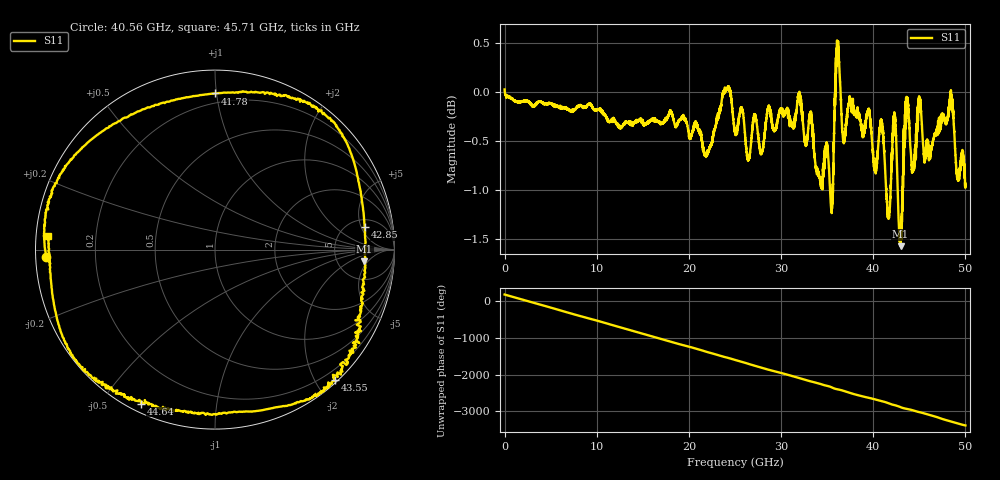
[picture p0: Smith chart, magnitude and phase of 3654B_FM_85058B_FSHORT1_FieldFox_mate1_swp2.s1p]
!Created with skrf (http://scikit-rf.org).
# Hz S RI R 50.0
!freq ReS11 ImS11
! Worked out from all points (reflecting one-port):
!   10000 points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, 5.3 MHz to 50 GHz, reference 50 ohm
!   lowest |S11| = -1.6 dB at 42.97 GHz (marker M1), VSWR 11.08, Z = 467 - j201 ohm
!   phase of S11 starts at 180 deg and turns -3561 deg over the sweep
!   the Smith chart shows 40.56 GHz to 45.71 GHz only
!   S11 on the Smith chart (normalised r, x): 40.56 GHz: 0.03, -0.02; 41.78 GHz: 0.14, +0.99; 42.85 GHz: 6.67, +5.83; 43.55 GHz: 0.04, -2.27; 44.64 GHz: 0.03, -0.63; 45.71 GHz: 0.03, +0.04
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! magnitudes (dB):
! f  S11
! 5.3 MHz  0.0
! 6.255 GHz  -0.2
! 12.51 GHz  -0.4
! 18.76 GHz  -0.3
! 21.92 GHz  -0.6
! 24.21 GHz  0.0
! 25.01 GHz  -0.4
! 31.26 GHz  -0.3
! 32.01 GHz  0.0
! 35.44 GHz  -1.2
! 36.12 GHz  0.5
! 36.79 GHz  -0.5
! 37.51 GHz  -0.1
! 40.56 GHz  -0.5
! 40.95 GHz  -0.3
! 41.78 GHz  -1.2
! 42.32 GHz  -0.3
! 42.85 GHz  -1.5
! 42.97 GHz  -1.6
! 43.55 GHz  -0.1
! 43.76 GHz  -0.1
! 44.25 GHz  -0.8
! 44.64 GHz  -0.4
! 45.03 GHz  -0.1
! 45.71 GHz  -0.6
! 48.43 GHz  -0.1
! 49.13 GHz  -0.9
! 50 GHz  -1.0
